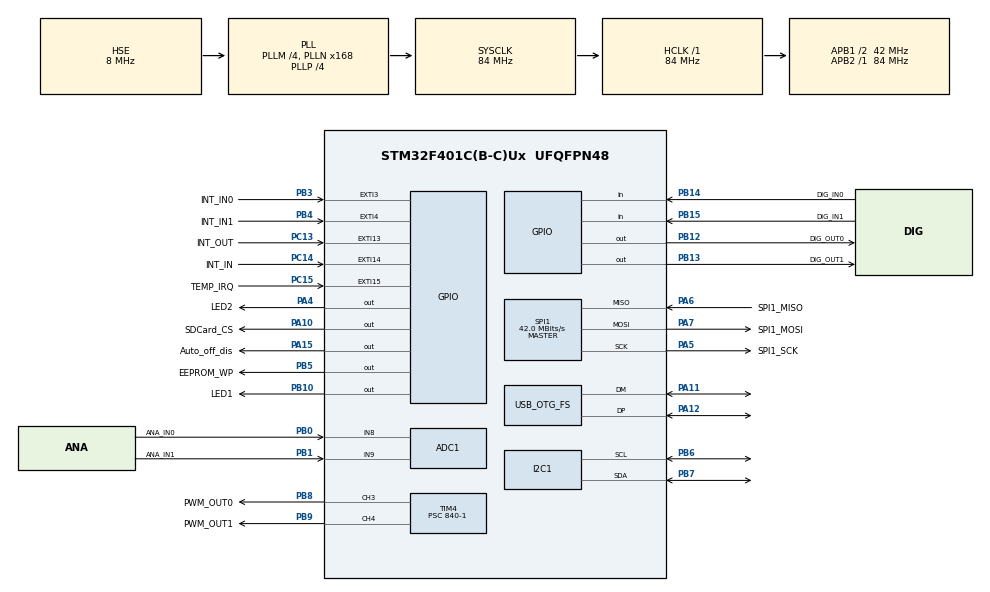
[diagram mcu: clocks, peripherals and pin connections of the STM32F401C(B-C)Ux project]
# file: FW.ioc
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ADC1.Channel-0\#ChannelRegularConversion=ADC_CHANNEL_8
ADC1.Channel-1\#ChannelRegularConversion=ADC_CHANNEL_9
ADC1.Channel-2\#ChannelRegularConversion=ADC_CHANNEL_TEMPSENSOR
ADC1.Channel-3\#ChannelRegularConversion=ADC_CHANNEL_VREFINT
ADC1.ClockPrescaler=ADC_CLOCK_SYNC_PCLK_DIV4
ADC1.ContinuousConvMode=ENABLE
ADC1.DMAContinuousRequests=ENABLE
ADC1.EOCSelection=ADC_EOC_SINGLE_CONV
ADC1.EnableAnalogWatchDog=false
ADC1.ExternalTrigConv=ADC_SOFTWARE_START
ADC1.InjNumberOfConversion=0
ADC1.NbrOfConversion=4
ADC1.NbrOfConversionFlag=1
ADC1.Rank-0\#ChannelRegularConversion=1
ADC1.Rank-1\#ChannelRegularConversion=2
ADC1.Rank-2\#ChannelRegularConversion=3
ADC1.Rank-3\#ChannelRegularConversion=4
ADC1.SamplingTime-0\#ChannelRegularConversion=ADC_SAMPLETIME_144CYCLES
ADC1.SamplingTime-1\#ChannelRegularConversion=ADC_SAMPLETIME_144CYCLES
ADC1.SamplingTime-2\#ChannelRegularConversion=ADC_SAMPLETIME_480CYCLES
ADC1.SamplingTime-3\#ChannelRegularConversion=ADC_SAMPLETIME_144CYCLES
ADC1.master=1
Dma.ADC1.0.Direction=DMA_PERIPH_TO_MEMORY
Dma.ADC1.0.FIFOMode=DMA_FIFOMODE_DISABLE
Dma.ADC1.0.Instance=DMA2_Stream0
Dma.ADC1.0.MemDataAlignment=DMA_MDATAALIGN_WORD
Dma.ADC1.0.MemInc=DMA_MINC_ENABLE
Dma.ADC1.0.Mode=DMA_CIRCULAR
Dma.ADC1.0.PeriphDataAlignment=DMA_PDATAALIGN_WORD
Dma.ADC1.0.PeriphInc=DMA_PINC_DISABLE
Dma.ADC1.0.Priority=DMA_PRIORITY_HIGH
Dma.Request0=ADC1
FREERTOS.Tasks01=LED1Task,0,128,startLED1Task,Default,NULL,Dynamic,NULL,NULL;USBTask,0,256,startUSBTask,Default,NULL,Dynamic,NULL,NULL;OLEDUpdateTask,-2,256,startOLEDUpdateTask,Default,NULL,Dynamic,NULL,NULL;fetchReadingTask,2,512,startFetchReadingTask,Default,NULL,Dynamic,NULL,NULL;regUpdateTask,1,256,startRegUpdateTask,Default,NULL,Dynamic,NULL,NULL;LED2Task,-3,128,startLED2Task,Default,NULL,Dynamic,NULL,NULL
FREERTOS.configCHECK_FOR_STACK_OVERFLOW=2
FREERTOS.configENABLE_FPU=1
FREERTOS.configMAX_TASK_NAME_LEN=20
FREERTOS.configUSE_IDLE_HOOK=1
FREERTOS.configUSE_MALLOC_FAILED_HOOK=1
FREERTOS.configUSE_NEWLIB_REENTRANT=1
FREERTOS.configUSE_TICK_HOOK=1
Mcu.Family=STM32F4
Mcu.Name=STM32F401C(B-C)Ux
Mcu.Package=UFQFPN48
NVIC.DMA2_Stream0_IRQn=true\:5\:0\:false\:false\:true\:true\:false\:true\:true
NVIC.EXTI15_10_IRQn=true\:5\:0\:false\:false\:true\:true\:true\:true\:true
NVIC.EXTI3_IRQn=true\:5\:0\:false\:false\:true\:true\:true\:true\:true
NVIC.EXTI4_IRQn=true\:5\:0\:false\:false\:true\:true\:true\:true\:true
NVIC.OTG_FS_IRQn=true\:5\:0\:false\:false\:true\:true\:true\:true\:true
NVIC.PriorityGroup=NVIC_PRIORITYGROUP_4
NVIC.TIM1_UP_TIM10_IRQn=true\:15\:0\:false\:false\:true\:false\:false\:true\:true
NVIC.TIM4_IRQn=true\:5\:0\:false\:false\:true\:true\:true\:true\:true
NVIC.TimeBase=TIM1_UP_TIM10_IRQn
NVIC.TimeBaseIP=TIM1
PA10.GPIO_Label=SDCard_CS
PA10.Signal=GPIO_Output
PA11.Mode=Device_Only
PA11.Signal=USB_OTG_FS_DM
PA12.Mode=Device_Only
PA12.Signal=USB_OTG_FS_DP
PA13.Mode=Serial_Wire
PA13.Signal=SYS_JTMS-SWDIO
PA14.Mode=Serial_Wire
PA14.Signal=SYS_JTCK-SWCLK
PA15.GPIO_Label=Auto_off_dis
PA15.Signal=GPIO_Output
PA4.GPIO_Label=LED2
PA4.GPIO_PuPd=GPIO_PULLUP
PA4.Signal=GPIO_Output
PA5.GPIO_Label=SPI1_SCK
PA5.GPIO_PuPd=GPIO_PULLUP
PA5.Mode=Full_Duplex_Master
PA5.Signal=SPI1_SCK
PA6.GPIO_Label=SPI1_MISO
PA6.GPIO_PuPd=GPIO_PULLUP
PA6.Mode=Full_Duplex_Master
PA6.Signal=SPI1_MISO
PA7.GPIO_Label=SPI1_MOSI
PA7.GPIO_PuPd=GPIO_PULLUP
PA7.Mode=Full_Duplex_Master
PA7.Signal=SPI1_MOSI
PB0.GPIO_Label=ANA_IN0
PB0.Signal=ADCx_IN8
PB1.GPIO_Label=ANA_IN1
PB1.Signal=ADCx_IN9
PB10.GPIO_Label=LED1
PB10.Signal=GPIO_Output
PB12.GPIO_Label=DIG_OUT0
PB12.PinState=GPIO_PIN_SET
PB12.Signal=GPIO_Output
PB13.GPIO_Label=DIG_OUT1
PB13.PinState=GPIO_PIN_SET
PB13.Signal=GPIO_Output
PB14.GPIO_Label=DIG_IN0
PB14.Signal=GPIO_Input
PB15.GPIO_Label=DIG_IN1
PB15.Signal=GPIO_Input
PB3.GPIO_Label=INT_IN0
PB3.Signal=GPXTI3
PB4.GPIO_Label=INT_IN1
PB4.Signal=GPXTI4
PB5.GPIO_Label=EEPROM_WP
PB5.Signal=GPIO_Output
PB6.GPIO_Pu=GPIO_PULLUP
PB6.Mode=I2C
PB6.Signal=I2C1_SCL
PB7.GPIO_Pu=GPIO_PULLUP
PB7.Mode=I2C
PB7.Signal=I2C1_SDA
PB8.GPIO_Label=PWM_OUT0
PB8.Signal=S_TIM4_CH3
PB9.GPIO_Label=PWM_OUT1
PB9.Signal=S_TIM4_CH4
PC13-ANTI_TAMP.GPIO_Label=INT_OUT
PC13-ANTI_TAMP.Signal=GPXTI13
PC14-OSC32_IN.GPIO_Label=INT_IN
PC14-OSC32_IN.Signal=GPXTI14
PC15-OSC32_OUT.GPIO_Label=TEMP_IRQ
PC15-OSC32_OUT.Signal=GPXTI15
PH0\ -\ OSC_IN.Mode=HSE-External-Oscillator
PH0\ -\ OSC_IN.Signal=RCC_OSC_IN
PH1\ -\ OSC_OUT.Mode=HSE-External-Oscillator
PH1\ -\ OSC_OUT.Signal=RCC_OSC_OUT
ProjectManager.HeapSize=0x200
ProjectManager.StackSize=0x400
ProjectManager.TargetToolchain=STM32CubeIDE
RCC.48MHZClocksFreq_Value=48000000
RCC.AHBFreq_Value=84000000
RCC.APB1CLKDivider=RCC_HCLK_DIV2
RCC.APB1Freq_Value=42000000
RCC.APB1TimFreq_Value=84000000
RCC.APB2Freq_Value=84000000
RCC.APB2TimFreq_Value=84000000
RCC.CortexFreq_Value=84000000
RCC.HCLKFreq_Value=84000000
RCC.HSE_VALUE=8000000
RCC.HSI_VALUE=16000000
RCC.LSE_VALUE=32768
RCC.PLLM=4
RCC.PLLN=168
RCC.PLLP=RCC_PLLP_DIV4
RCC.PLLQ=7
RCC.SYSCLKFreq_VALUE=84000000
RCC.SYSCLKSource=RCC_SYSCLKSOURCE_PLLCLK
RCC.VCOOutputFreq_Value=336000000
SH.ADCx_IN8.0=ADC1_IN8,IN8
SH.ADCx_IN9.0=ADC1_IN9,IN9
SH.S_TIM4_CH3.0=TIM4_CH3,PWM Generation3 CH3
SH.S_TIM4_CH4.0=TIM4_CH4,PWM Generation4 CH4
SPI1.BaudRatePrescaler=SPI_BAUDRATEPRESCALER_2
SPI1.CalculateBaudRate=42.0 MBits/s
SPI1.Direction=SPI_DIRECTION_2LINES
SPI1.Mode=SPI_MODE_MASTER
SPI1.VirtualType=VM_MASTER
TIM4.AutoReloadPreload=TIM_AUTORELOAD_PRELOAD_ENABLE
TIM4.Channel-PWM\ Generation3\ CH3=TIM_CHANNEL_3
TIM4.Channel-PWM\ Generation4\ CH4=TIM_CHANNEL_4
TIM4.OCFastMode_PWM-PWM\ Generation3\ CH3=TIM_OCFAST_DISABLE
TIM4.OCFastMode_PWM-PWM\ Generation4\ CH4=TIM_OCFAST_DISABLE
TIM4.OCPolarity_3=TIM_OCPOLARITY_LOW
TIM4.OCPolarity_4=TIM_OCPOLARITY_LOW
TIM4.Period=100-1
TIM4.Prescaler=840-1
TIM4.Pulse-PWM\ Generation3\ CH3=50
TIM4.Pulse-PWM\ Generation4\ CH4=0
TIM4.TIM_MasterOutputTrigger=TIM_TRGO_UPDATE
USB_DEVICE.CLASS_NAME_FS=CDC
USB_DEVICE.VirtualMode=Cdc
USB_DEVICE.VirtualModeFS=Cdc_FS
USB_OTG_FS.VirtualMode=Device_Only
VP_ADC1_TempSens_Input.Mode=IN-TempSens
VP_ADC1_Vref_Input.Mode=IN-Vrefint
VP_FREERTOS_VS_CMSIS_V1.Mode=CMSIS_V1
VP_SYS_VS_tim1.Mode=TIM1
VP_TIM4_VS_ClockSourceINT.Mode=Internal
VP_USB_DEVICE_VS_USB_DEVICE_CDC_FS.Mode=CDC_FS
board=custom

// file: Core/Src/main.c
/* USER CODE BEGIN Header */
/**
 ******************************************************************************
 * @file           : main.c
 * @brief          : Main program body
 ******************************************************************************
 * @attention
 *
 * Copyright (c) 2022 STMicroelectronics.
 * All rights reserved.
 *
 * This software is licensed under terms that can be found in the LICENSE file
 * in the root directory of this software component.
 * If no LICENSE file comes with this software, it is provided AS-IS.
 *
 ******************************************************************************
 */
/* USER CODE END Header */
#include "main.h"
#include "cmsis_os.h"
#include "adc.h"
#include "dma.h"
#include "i2c.h"
#include "spi.h"
#include "tim.h"
#include "usb_device.h"
#include "gpio.h"

/* USER CODE BEGIN Includes */
#include "led.h"
/* USER CODE END Includes */

/* USER CODE BEGIN PD */
//#define CMD_SIZE 3
#define FIRSTTIMEPROG		0

/* USER CODE END PD */

/* USER CODE BEGIN PV */
//uint16_t gina226_configData_ch1 = 0;
char transmitBuffer[5];
uint8_t buffer[64];
//extern uint8_t USBRXDataReady;
//extern uint8_t USBRXDataLength;
//extern uint8_t *USBRXDataBuffer;
/* USER CODE END PV */

void SystemClock_Config(void);
void MX_FREERTOS_Init(void);

int main(void)
{

	/* MCU Configuration--------------------------------------------------------*/

	/* Reset of all peripherals, Initializes the Flash interface and the Systick. */
	HAL_Init();

	/* Configure the system clock */
	SystemClock_Config();

	/* Initialize all configured peripherals */
	MX_GPIO_Init();
	MX_DMA_Init();
	MX_ADC1_Init();
	MX_I2C1_Init();
	MX_SPI1_Init();
	MX_TIM4_Init();
	/* USER CODE BEGIN 2 */
	/* init code for USB_DEVICE */
	MX_USB_DEVICE_Init();
//	printf("Initializing...\r\n");
	ssd1306_Init();
	ssd1306_SetCursor(10, 10);
	ssd1306_WriteString("Welcome", Font_11x18, White);
	ssd1306_SetCursor(10, 30);
	ssd1306_WriteString("to REMDx", Font_11x18, White);
	ssd1306_SetCursor(10, 50);
	ssd1306_WriteString("by Qu'rac Tech", Font_7x10, White);
	ssd1306_UpdateScreen();
	HAL_Delay(2000);

//	ina226_channelInit(&hi2c1, CH1_ADDRESS,
//	RESET_INACTIVE | UNUSED_BITS | AVG_1 | VBUS_1100uS | VSH_1100uS | MODE_CONT_SHUNT_AND_BUS);
	ina226_channelInit(&hi2c1, CH1_ADDRESS,
	RESET_INACTIVE | UNUSED_BITS | AVG_4 | VBUS_140uS | VSH_140uS | MODE_CONT_SHUNT_AND_BUS);
	HAL_Delay(1);
//	ina226_channelInit(&hi2c1, CH2_ADDRESS,
//	RESET_INACTIVE | UNUSED_BITS | AVG_1 | VBUS_1100uS | VSH_1100uS | MODE_CONT_SHUNT_AND_BUS);
	ina226_channelInit(&hi2c1, CH2_ADDRESS,
	RESET_INACTIVE | UNUSED_BITS | AVG_4 | VBUS_140uS | VSH_140uS | MODE_CONT_SHUNT_AND_BUS);
	if (HAL_OK != HAL_ADC_Start_DMA(&hadc1, adc_data, 4))
	{
		Error_Handler();
	}
	CDC_Transmit_FS((uint8_t*) "Starting USB\r\n", sizeof("Starting USB\r\n"));

	SetupDataState = EEPROMReadByte(EEPROMLoadPage, 0);
	if (FIRSTTIMEPROG)
	{
		defaultSettings(&defaultSetupData);
		saveUserConfigData(EEPROMDefaultPage, regBuffer);
		saveUserConfigData(EEPROMCustomPage, regBuffer);
		EEPROMWriteByte(EEPROMLoadPage, 0, (uint8_t*) (1));
		newSetupData = defaultSetupData;
	}
	else
	{
		if (SetupDataState == loadCustomSetupData)
		{
			g_ina226Ch1ConfigUpdateFlag = 1;
			g_ina226Ch2ConfigUpdateFlag = 1;
			getSavedUserConfigData(EEPROMCustomPage, regBuffer);
			loadSettingFromBuffer(&customSetupData, regBuffer);
			newSetupData = customSetupData;
		}
		else
		{
			g_ina226Ch1ConfigUpdateFlag = 1;
			g_ina226Ch2ConfigUpdateFlag = 1;
			getSavedUserConfigData(EEPROMDefaultPage, regBuffer);
			loadSettingFromBuffer(&defaultSetupData, regBuffer);
			//			defaultSettings(&defaultSetupData);
			newSetupData = defaultSetupData;
		}
	}
//	defaultSettings(&defaultSetupData);
//	newSetupData = defaultSetupData;
	g_HWUpdateFlag = 1;

	/* USER CODE END 2 */

	/* Call init function for freertos objects (in freertos.c) */
	MX_FREERTOS_Init();

	/* Start scheduler */
	osKernelStart();

	/* We should never get here as control is now taken by the scheduler */
	/* Infinite loop */
	while (1)
	{

	}
}

void SystemClock_Config(void)
{
	RCC_OscInitTypeDef RCC_OscInitStruct =
	{ 0 };
	RCC_ClkInitTypeDef RCC_ClkInitStruct =
	{ 0 };

	/** Configure the main internal regulator output voltage
	 */
	__HAL_RCC_PWR_CLK_ENABLE();
	__HAL_PWR_VOLTAGESCALING_CONFIG(PWR_REGULATOR_VOLTAGE_SCALE2);

	/** Initializes the RCC Oscillators according to the specified parameters
	 * in the RCC_OscInitTypeDef structure.
	 */
	RCC_OscInitStruct.OscillatorType = RCC_OSCILLATORTYPE_HSE;
	RCC_OscInitStruct.HSEState = RCC_HSE_ON;
	RCC_OscInitStruct.PLL.PLLState = RCC_PLL_ON;
	RCC_OscInitStruct.PLL.PLLSource = RCC_PLLSOURCE_HSE;
	RCC_OscInitStruct.PLL.PLLM = 4;
	RCC_OscInitStruct.PLL.PLLN = 168;
	RCC_OscInitStruct.PLL.PLLP = RCC_PLLP_DIV4;
	RCC_OscInitStruct.PLL.PLLQ = 7;
	if (HAL_RCC_OscConfig(&RCC_OscInitStruct) != HAL_OK)
	{
		Error_Handler();
	}

	/** Initializes the CPU, AHB and APB buses clocks
	 */
	RCC_ClkInitStruct.ClockType = RCC_CLOCKTYPE_HCLK | RCC_CLOCKTYPE_SYSCLK | RCC_CLOCKTYPE_PCLK1 | RCC_CLOCKTYPE_PCLK2;
	RCC_ClkInitStruct.SYSCLKSource = RCC_SYSCLKSOURCE_PLLCLK;
	RCC_ClkInitStruct.AHBCLKDivider = RCC_SYSCLK_DIV1;
	RCC_ClkInitStruct.APB1CLKDivider = RCC_HCLK_DIV2;
	RCC_ClkInitStruct.APB2CLKDivider = RCC_HCLK_DIV1;

	if (HAL_RCC_ClockConfig(&RCC_ClkInitStruct, FLASH_LATENCY_2) != HAL_OK)
	{
		Error_Handler();
	}
}

void HAL_TIM_PeriodElapsedCallback(TIM_HandleTypeDef *htim)
{
	if (htim->Instance == TIM1)
	{
		HAL_IncTick();
	}
}

void Error_Handler(void)
{
	__disable_irq();
	while (1)
	{
	}
}

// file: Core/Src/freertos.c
/* USER CODE BEGIN Header */
/**
 ******************************************************************************
 * File Name          : freertos.c
 * Description        : Code for freertos applications
 ******************************************************************************
 * @attention
 *
 * Copyright (c) 2022 STMicroelectronics.
 * All rights reserved.
 *
 * This software is licensed under terms that can be found in the LICENSE file
 * in the root directory of this software component.
 * If no LICENSE file comes with this software, it is provided AS-IS.
 *
 ******************************************************************************
 */
/* USER CODE END Header */

#include "FreeRTOS.h"
#include "task.h"
#include "main.h"
#include "cmsis_os.h"

/* USER CODE BEGIN PD */
Ina226Data_t channel1Data;
Ina226Data_t channel2Data;
/* USER CODE END PD */

/* USER CODE BEGIN Variables */
//extern uint8_t USBRXDataReady;
//extern uint8_t USBRXDataLength;
//extern uint8_t *USBRXDataBuffer;
/* USER CODE END Variables */
osThreadId LED1TaskHandle;
osThreadId USBTaskHandle;
osThreadId OLEDUpdateTaskHandle;
osThreadId fetchReadingTaskHandle;
osThreadId regUpdateTaskHandle;
osThreadId LED2TaskHandle;

void startLED1Task(void const *argument);
void startUSBTask(void const *argument);
void startOLEDUpdateTask(void const *argument);
void startFetchReadingTask(void const *argument);
void startRegUpdateTask(void const *argument);
void startLED2Task(void const *argument);

extern void MX_USB_DEVICE_Init(void);
void MX_FREERTOS_Init(void); /* (MISRA C 2004 rule 8.1) */

/* GetIdleTaskMemory prototype (linked to static allocation support) */
void vApplicationGetIdleTaskMemory(StaticTask_t **ppxIdleTaskTCBBuffer, StackType_t **ppxIdleTaskStackBuffer,
		uint32_t *pulIdleTaskStackSize);

/* Hook prototypes */
void vApplicationIdleHook(void);
void vApplicationTickHook(void);
void vApplicationStackOverflowHook(xTaskHandle xTask, signed char *pcTaskName);
void vApplicationMallocFailedHook(void);

/* USER CODE BEGIN 2 */
__weak void vApplicationIdleHook(void)
{
	/* vApplicationIdleHook() will only be called if configUSE_IDLE_HOOK is set
	 to 1 in FreeRTOSConfig.h. It will be called on each iteration of the idle
	 task. It is essential that code added to this hook function never attempts
	 to block in any way (for example, call xQueueReceive() with a block time
	 specified, or call vTaskDelay()). If the application makes use of the
	 vTaskDelete() API function (as this demo application does) then it is also
	 important that vApplicationIdleHook() is permitted to return to its calling
	 function, because it is the responsibility of the idle task to clean up
	 memory allocated by the kernel to any task that has since been deleted. */
}
/* USER CODE END 2 */

/* USER CODE BEGIN 3 */
__weak void vApplicationTickHook(void)
{
	/* This function will be called by each tick interrupt if
	 configUSE_TICK_HOOK is set to 1 in FreeRTOSConfig.h. User code can be
	 added here, but the tick hook is called from an interrupt context, so
	 code must not attempt to block, and only the interrupt safe FreeRTOS API
	 functions can be used (those that end in FromISR()). */
}
/* USER CODE END 3 */

/* USER CODE BEGIN 4 */
__weak void vApplicationStackOverflowHook(xTaskHandle xTask, signed char *pcTaskName)
{
	/* Run time stack overflow checking is performed if
	 configCHECK_FOR_STACK_OVERFLOW is defined to 1 or 2. This hook function is
	 called if a stack overflow is detected. */
}
/* USER CODE END 4 */

/* USER CODE BEGIN 5 */
__weak void vApplicationMallocFailedHook(void)
{
	/* vApplicationMallocFailedHook() will only be called if
	 configUSE_MALLOC_FAILED_HOOK is set to 1 in FreeRTOSConfig.h. It is a hook
	 function that will get called if a call to pvPortMalloc() fails.
	 pvPortMalloc() is called internally by the kernel whenever a task, queue,
	 timer or semaphore is created. It is also called by various parts of the
	 demo application. If heap_1.c or heap_2.c are used, then the size of the
	 heap available to pvPortMalloc() is defined by configTOTAL_HEAP_SIZE in
	 FreeRTOSConfig.h, and the xPortGetFreeHeapSize() API function can be used
	 to query the size of free heap space that remains (although it does not
	 provide information on how the remaining heap might be fragmented). */
}
/* USER CODE END 5 */

/* USER CODE BEGIN GET_IDLE_TASK_MEMORY */
static StaticTask_t xIdleTaskTCBBuffer;
static StackType_t xIdleStack[configMINIMAL_STACK_SIZE];

void vApplicationGetIdleTaskMemory(StaticTask_t **ppxIdleTaskTCBBuffer, StackType_t **ppxIdleTaskStackBuffer,
		uint32_t *pulIdleTaskStackSize)
{
	*ppxIdleTaskTCBBuffer = &xIdleTaskTCBBuffer;
	*ppxIdleTaskStackBuffer = &xIdleStack[0];
	*pulIdleTaskStackSize = configMINIMAL_STACK_SIZE;
	/* place for user code */
}
/* USER CODE END GET_IDLE_TASK_MEMORY */

void MX_FREERTOS_Init(void)
{

	/* Create the thread(s) */
	/* definition and creation of LED1Task */
	osThreadDef(LED1Task, startLED1Task, osPriorityNormal, 0, 128);
	LED1TaskHandle = osThreadCreate(osThread(LED1Task), NULL);

	/* definition and creation of USBTask */
	osThreadDef(USBTask, startUSBTask, osPriorityNormal, 0, 256);
	USBTaskHandle = osThreadCreate(osThread(USBTask), NULL);

	/* definition and creation of OLEDUpdateTask */
	osThreadDef(OLEDUpdateTask, startOLEDUpdateTask, osPriorityLow, 0, 256);
	OLEDUpdateTaskHandle = osThreadCreate(osThread(OLEDUpdateTask), NULL);

	/* definition and creation of fetchReadingTask */
	osThreadDef(fetchReadingTask, startFetchReadingTask, osPriorityHigh, 0, 512);
	fetchReadingTaskHandle = osThreadCreate(osThread(fetchReadingTask), NULL);

	/* definition and creation of regUpdateTask */
	osThreadDef(regUpdateTask, startRegUpdateTask, osPriorityAboveNormal, 0, 256);
	regUpdateTaskHandle = osThreadCreate(osThread(regUpdateTask), NULL);

	/* definition and creation of LED2Task */
	osThreadDef(LED2Task, startLED2Task, osPriorityIdle, 0, 128);
	LED2TaskHandle = osThreadCreate(osThread(LED2Task), NULL);

}

void startLED1Task(void const *argument)
{
	/* init code for USB_DEVICE */
//	MX_USB_DEVICE_Init();
	/* USER CODE BEGIN startLED1Task */
	/* Infinite loop */
	for (;;)
	{
		if (newSetupData.setRegister.blink_led1 == 1)
		{
			newSetupData.setRegister.set_led1 = 0;
			led1Blink(newSetupData.setRegister.led1_blink_rate);
		}
		else if (newSetupData.setRegister.set_led1 == 1 && newSetupData.setRegister.blink_led1 == 0)
		{
			led1On();
			osDelay(LED1UpdateTime);
		}
		else
		{
			led1Off();
			osDelay(LED1UpdateTime);
		}
	}
	/* USER CODE END startLED1Task */
}

void startUSBTask(void const *argument)
{
	/* USER CODE BEGIN startUSBTask */
	/* Infinite loop */
	for (;;)
	{
//		printf("g_regMapUpdateFlag=%d\r\n", g_regMapUpdateFlag);
		streamMeasurements(&newSetupData, &lm75adAmbTemp, &channel1Data, &channel2Data);
//		printf("id0 = %d\r\n", newSetupData.setRegister.id0);
		osDelay(USBUpdateTime);
	}
	/* USER CODE END startUSBTask */
}

void startOLEDUpdateTask(void const *argument)
{
	/* USER CODE BEGIN startOLEDUpdateTask */
	/* Infinite loop */
	for (;;)
	{
		displayEfficiency(1, &channel1Data, &channel2Data, &lm75adAmbTemp);
		osDelay(OLEDUpdateTime);
	}
}

void startFetchReadingTask(void const *argument)
{
	/* USER CODE BEGIN startFetchReadingTask */
	/* Infinite loop */
	for (;;)
	{
		lm75adAmbTemp = lm75ad_getTempValue(&hi2c1, LM75AD_ADDRESS, lm75adAmbTemp);
		ina226_getResult(&channel1Data, &hi2c1, CH1_ADDRESS);
		ina226_getResult(&channel2Data, &hi2c1, CH2_ADDRESS);
		stm32Temp = (VSENSE * adcRead(MCU_TEMP_ADC_CHANNEL) - V25) / Avg_Slope + 25.0;
		stm32Vref = (VSENSE) * adcRead(MCU_INT_REF_ADC_CHANNEL);

		ina_in0 = (VSENSE) * adcRead(INA_IN0_ADC_CHANNEL);

		ina_in1 = VSENSE * adcRead(INA_IN1_ADC_CHANNEL);
//		stm32Temp = (VSENSE * adcRead(2) - V25) / Avg_Slope + 25.0;
//		stm32Vref = (VSENSE) * adcRead(3);
//
//		ina_in0 = (VSENSE) * adcRead(0);
//
//		ina_in1 = VSENSE * adcRead(1);
		osDelay(100);
	}
	/* USER CODE END startFetchReadingTask */
}

void startRegUpdateTask(void const *argument)
{
	/* USER CODE BEGIN startRegUpdateTask */
	/* Infinite loop */
	for (;;)
	{
		if (g_regMapUpdateFlag)
		{
			registerMap(USBRXDataBuffer);
			g_regMapUpdateFlag = 0;
		}
		if (g_HWUpdateFlag)
		{
			configHW(&newSetupData, g_HWUpdateFlag);
			g_HWUpdateFlag = 0;
		}

		osDelay(100);
	}
	/* USER CODE END startRegUpdateTask */
}

void startLED2Task(void const *argument)
{
	/* USER CODE BEGIN startLED2Task */
	/* Infinite loop */
	for (;;)
	{
		if (newSetupData.setRegister.blink_led2 == 1)
		{
			newSetupData.setRegister.set_led2 = 0;
//			led2Blink(newSetupData.setRegister.led2_blink_rate);
			HAL_GPIO_TogglePin(LED2_GPIO_Port, LED2_Pin);
			osDelay(newSetupData.setRegister.led2_blink_rate);
		}
		else if (newSetupData.setRegister.set_led2 == 1 && newSetupData.setRegister.blink_led2 == 0)
		{
			led2On();
			osDelay(LED2UpdateTime);
		}
		else
		{
			led2Off();
			osDelay(LED2UpdateTime);
		}
	}
	/* USER CODE END startLED2Task */
}
